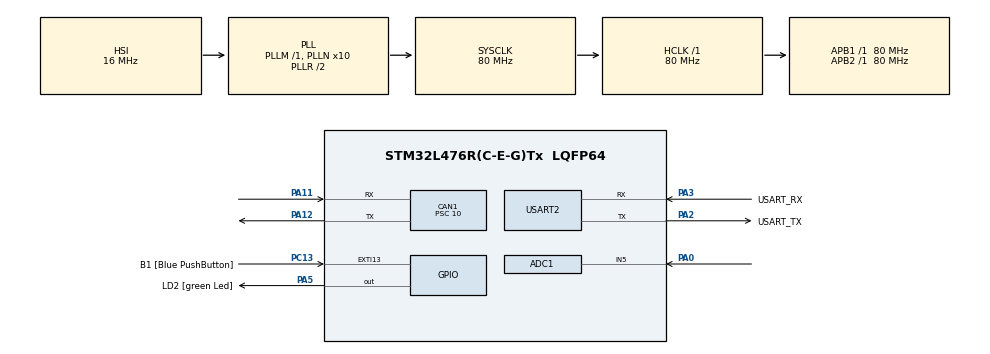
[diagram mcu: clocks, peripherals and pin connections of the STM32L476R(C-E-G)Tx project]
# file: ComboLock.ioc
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ADC1.Channel-0\#ChannelRegularConversion=ADC_CHANNEL_5
ADC1.NbrOfConversionFlag=1
ADC1.OffsetNumber-0\#ChannelRegularConversion=ADC_OFFSET_NONE
ADC1.Rank-0\#ChannelRegularConversion=1
ADC1.SamplingTime-0\#ChannelRegularConversion=ADC_SAMPLETIME_2CYCLES_5
ADC1.master=1
CAN1.BS1=CAN_BS1_13TQ
CAN1.BS2=CAN_BS2_2TQ
CAN1.CalculateTimeQuantum=125.0
CAN1.Mode=CAN_MODE_LOOPBACK
CAN1.Prescaler=10
Mcu.Family=STM32L4
Mcu.Name=STM32L476R(C-E-G)Tx
Mcu.Package=LQFP64
NVIC.EXTI15_10_IRQn=true\:0\:0\:false\:false\:true\:true\:true
NVIC.PriorityGroup=NVIC_PRIORITYGROUP_4
NVIC.RCC_IRQn=true\:0\:0\:false\:false\:true\:true\:false
PA0.Signal=SharedAnalog_PA0
PA11.Mode=Master
PA11.Signal=CAN1_RX
PA12.Mode=Master
PA12.Signal=CAN1_TX
PA13\ (JTMS-SWDIO).GPIO_Label=TMS
PA13\ (JTMS-SWDIO).Mode=Serial_Wire
PA13\ (JTMS-SWDIO).Signal=SYS_JTMS-SWDIO
PA14\ (JTCK-SWCLK).GPIO_Label=TCK
PA14\ (JTCK-SWCLK).Mode=Serial_Wire
PA14\ (JTCK-SWCLK).Signal=SYS_JTCK-SWCLK
PA2.GPIO_Label=USART_TX
PA2.GPIO_Mode=GPIO_MODE_AF_PP
PA2.GPIO_PuPd=GPIO_NOPULL
PA2.GPIO_Speed=GPIO_SPEED_FREQ_VERY_HIGH
PA2.Mode=Asynchronous
PA2.Signal=USART2_TX
PA3.GPIO_Label=USART_RX
PA3.GPIO_Mode=GPIO_MODE_AF_PP
PA3.GPIO_PuPd=GPIO_NOPULL
PA3.GPIO_Speed=GPIO_SPEED_FREQ_VERY_HIGH
PA3.Mode=Asynchronous
PA3.Signal=USART2_RX
PA5.GPIO_Label=LD2 [green Led]
PA5.GPIO_ModeDefaultOutputPP=GPIO_MODE_OUTPUT_PP
PA5.GPIO_PuPd=GPIO_NOPULL
PA5.GPIO_Speed=GPIO_SPEED_FREQ_LOW
PA5.Signal=GPIO_Output
PB3\ (JTDO-TRACESWO).GPIO_Label=SWO
PB3\ (JTDO-TRACESWO).Signal=SYS_JTDO-SWO
PC13.GPIO_Label=B1 [Blue PushButton]
PC13.GPIO_ModeDefaultEXTI=GPIO_MODE_IT_FALLING
PC13.GPIO_PuPd=GPIO_NOPULL
PC13.Signal=GPXTI13
PC14-OSC32_IN\ (PC14).Mode=LSE-External-Oscillator
PC14-OSC32_IN\ (PC14).Signal=RCC_OSC32_IN
PC15-OSC32_OUT\ (PC15).Mode=LSE-External-Oscillator
PC15-OSC32_OUT\ (PC15).Signal=RCC_OSC32_OUT
PH0-OSC_IN\ (PH0).Signal=RCC_OSC_IN
PH1-OSC_OUT\ (PH1).Signal=RCC_OSC_OUT
ProjectManager.HeapSize=0x200
ProjectManager.StackSize=0x400
ProjectManager.TargetToolchain=STM32CubeIDE
RCC.ADCFreq_Value=64000000
RCC.AHBFreq_Value=80000000
RCC.APB1Freq_Value=80000000
RCC.APB1TimFreq_Value=80000000
RCC.APB2Freq_Value=80000000
RCC.APB2TimFreq_Value=80000000
RCC.CortexFreq_Value=80000000
RCC.HCLKFreq_Value=80000000
RCC.HSE_VALUE=8000000
RCC.HSI_VALUE=16000000
RCC.MSI_VALUE=4000000
RCC.PLLN=10
RCC.PLLSourceVirtual=RCC_PLLSOURCE_HSI
RCC.PREFETCH_ENABLE=1
RCC.SYSCLKFreq_VALUE=80000000
RCC.SYSCLKSource=RCC_SYSCLKSOURCE_PLLCLK
RCC.USBFreq_Value=64000000
RCC.VCOOutputFreq_Value=160000000
SH.SharedAnalog_PA0.0=GPIO_Analog
SH.SharedAnalog_PA0.1=ADC1_IN5,IN5-Single-Ended
USART2.VirtualMode-Asynchronous=VM_ASYNC
board=NUCLEO-L476RG

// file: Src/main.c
/* USER CODE BEGIN Header */
/**
 ******************************************************************************
 * @file           : main.c
 * @brief          : Main program body
 ******************************************************************************
 * @attention
 *
 * <h2><center>&copy; Copyright (c) 2019 STMicroelectronics.
 * All rights reserved.</center></h2>
 *
 * This software component is licensed by ST under BSD 3-Clause license,
 * the "License"; You may not use this file except in compliance with the
 * License. You may obtain a copy of the License at:
 *                        opensource.org/licenses/BSD-3-Clause
 *
 ******************************************************************************
 */
/* USER CODE END Header */

#include "main.h"

/* USER CODE BEGIN PD */
#define SECRET_SIZE 4
/* USER CODE END PD */

ADC_HandleTypeDef hadc1;

CAN_HandleTypeDef hcan1;

UART_HandleTypeDef huart2;

/* USER CODE BEGIN PV */
uint16_t blinkingTime = 0;
uint16_t lastTickTime = 0;
int blinking = 0;
int maxADC = 4032;
uint8_t adcDigit[4];
uint8_t secretMessage[8] = { 0U };
int arrayIndex = 0;
uint32_t currentTick;
uint32_t adcValue;
/* USER CODE END PV */

void SystemClock_Config(void);
static void MX_GPIO_Init(void);
static void MX_CAN1_Init(void);
static void MX_USART2_UART_Init(void);
static void MX_ADC1_Init(void);
int determineDigit(void);
/* USER CODE BEGIN PFP */
int __io_putchar(int ch) {
	uint8_t c[1];
	c[0] = ch & 0x00FF;
	HAL_UART_Transmit(&huart2, &*c, 1, 10);
	return ch;
}
/* USER CODE END PFP */

/* USER CODE BEGIN 0 */
void HAL_GPIO_EXTI_Callback(uint16_t GPIO_Pin) {
	if (GPIO_Pin == GPIO_PIN_13) {
		if ((currentTick - lastTickTime) > 200 && getState() == READ_DIGIT) {
			int currentDigit = determineDigit();
			adcDigit[(arrayIndex++) % 4] = currentDigit;
			nextState(DIGIT_READ);
			lastTickTime = currentTick;
		}
	}
}

int determineDigit(void) {
	return (((float) adcValue / (float) maxADC) * 4) + 1;
}

extern enum states state;
extern int digitsRead;

/* USER CODE END 0 */

int main(void) {
	/* USER CODE BEGIN 1 */
	state = READ_DIGIT;
	digitsRead = 0;
	/* USER CODE END 1 */

	/* MCU Configuration--------------------------------------------------------*/

	/* Reset of all peripherals, Initializes the Flash interface and the Systick. */
	HAL_Init();

	/* Configure the system clock */
	SystemClock_Config();

	/* Initialize all configured peripherals */
	MX_GPIO_Init();
	MX_CAN1_Init();
	MX_USART2_UART_Init();
	MX_ADC1_Init();

	/* Infinite loop */
	while (1) {
		/* USER CODE BEGIN 3 */
		currentTick = HAL_GetTick();
		switch (getState()) {
		case READ_DIGIT: {
			HAL_StatusTypeDef start = HAL_ADC_Start(&hadc1);
			HAL_StatusTypeDef poll = HAL_ADC_PollForConversion(&hadc1, 100);
			adcValue = HAL_ADC_GetValue(&hadc1);
			printf("%d, %d\n", determineDigit(), digitsRead);
			break;
		}

		case SEND_MESSAGE: {
			HAL_CAN_StateTypeDef state = HAL_CAN_GetState(&hcan1);
			printf("%d, %d, %d, %d\n", adcDigit[0], adcDigit[1], adcDigit[2], adcDigit[3]);
			if (writeToCAN(&hcan1, adcDigit, 4) != -1) {
				nextState(CAN_SENT);
			} else {
				printf("sad\n");
			}
			break;
		}

		case RECEIVE_MESSAGE: {
			CAN_RxHeaderTypeDef result;
			if (readCAN(&hcan1, secretMessage, &result) != -1) {
				printf("%s\n", (char*)secretMessage);
				if(result.ExtId == 0x2AAA5)
					nextState(CAN_RECEIVED);
			}
			printf("Reading CAN");
			break;
		}
		case FINISHED: {
			printf("%s\n", (char*) secretMessage);
			break;
		}
		}
		HAL_Delay(10);
	}
	/* USER CODE END 3 */
}

void SystemClock_Config(void)
{
  RCC_OscInitTypeDef RCC_OscInitStruct = {0};
  RCC_ClkInitTypeDef RCC_ClkInitStruct = {0};
  RCC_PeriphCLKInitTypeDef PeriphClkInit = {0};

  /** Initializes the CPU, AHB and APB busses clocks
  */
  RCC_OscInitStruct.OscillatorType = RCC_OSCILLATORTYPE_HSI;
  RCC_OscInitStruct.HSIState = RCC_HSI_ON;
  RCC_OscInitStruct.HSICalibrationValue = RCC_HSICALIBRATION_DEFAULT;
  RCC_OscInitStruct.PLL.PLLState = RCC_PLL_ON;
  RCC_OscInitStruct.PLL.PLLSource = RCC_PLLSOURCE_HSI;
  RCC_OscInitStruct.PLL.PLLM = 1;
  RCC_OscInitStruct.PLL.PLLN = 10;
  RCC_OscInitStruct.PLL.PLLP = RCC_PLLP_DIV7;
  RCC_OscInitStruct.PLL.PLLQ = RCC_PLLQ_DIV2;
  RCC_OscInitStruct.PLL.PLLR = RCC_PLLR_DIV2;
  if (HAL_RCC_OscConfig(&RCC_OscInitStruct) != HAL_OK)
  {
    Error_Handler();
  }
  /** Initializes the CPU, AHB and APB busses clocks
  */
  RCC_ClkInitStruct.ClockType = RCC_CLOCKTYPE_HCLK|RCC_CLOCKTYPE_SYSCLK
                              |RCC_CLOCKTYPE_PCLK1|RCC_CLOCKTYPE_PCLK2;
  RCC_ClkInitStruct.SYSCLKSource = RCC_SYSCLKSOURCE_PLLCLK;
  RCC_ClkInitStruct.AHBCLKDivider = RCC_SYSCLK_DIV1;
  RCC_ClkInitStruct.APB1CLKDivider = RCC_HCLK_DIV1;
  RCC_ClkInitStruct.APB2CLKDivider = RCC_HCLK_DIV1;

  if (HAL_RCC_ClockConfig(&RCC_ClkInitStruct, FLASH_LATENCY_4) != HAL_OK)
  {
    Error_Handler();
  }
  PeriphClkInit.PeriphClockSelection = RCC_PERIPHCLK_USART2|RCC_PERIPHCLK_ADC;
  PeriphClkInit.Usart2ClockSelection = RCC_USART2CLKSOURCE_PCLK1;
  PeriphClkInit.AdcClockSelection = RCC_ADCCLKSOURCE_PLLSAI1;
  PeriphClkInit.PLLSAI1.PLLSAI1Source = RCC_PLLSOURCE_HSI;
  PeriphClkInit.PLLSAI1.PLLSAI1M = 1;
  PeriphClkInit.PLLSAI1.PLLSAI1N = 8;
  PeriphClkInit.PLLSAI1.PLLSAI1P = RCC_PLLP_DIV7;
  PeriphClkInit.PLLSAI1.PLLSAI1Q = RCC_PLLQ_DIV2;
  PeriphClkInit.PLLSAI1.PLLSAI1R = RCC_PLLR_DIV2;
  PeriphClkInit.PLLSAI1.PLLSAI1ClockOut = RCC_PLLSAI1_ADC1CLK;
  if (HAL_RCCEx_PeriphCLKConfig(&PeriphClkInit) != HAL_OK)
  {
    Error_Handler();
  }
  /** Configure the main internal regulator output voltage
  */
  if (HAL_PWREx_ControlVoltageScaling(PWR_REGULATOR_VOLTAGE_SCALE1) != HAL_OK)
  {
    Error_Handler();
  }
}

static void MX_ADC1_Init(void)
{

  ADC_MultiModeTypeDef multimode = {0};
  ADC_ChannelConfTypeDef sConfig = {0};

  /** Common config
  */
  hadc1.Instance = ADC1;
  hadc1.Init.ClockPrescaler = ADC_CLOCK_ASYNC_DIV4; /*!< ADC asynchronous clock with prescaler division by 4 */
  hadc1.Init.Resolution = ADC_RESOLUTION_12B;
  hadc1.Init.DataAlign = ADC_DATAALIGN_RIGHT;
  hadc1.Init.ScanConvMode = ADC_SCAN_DISABLE;
  hadc1.Init.EOCSelection = ADC_EOC_SINGLE_CONV;
  hadc1.Init.LowPowerAutoWait = DISABLE;
  hadc1.Init.ContinuousConvMode = DISABLE;
  hadc1.Init.NbrOfConversion = 5; //not sure how much this affects function
  hadc1.Init.DiscontinuousConvMode = DISABLE;
  hadc1.Init.ExternalTrigConv = ADC_SOFTWARE_START;
  hadc1.Init.ExternalTrigConvEdge = ADC_EXTERNALTRIGCONVEDGE_NONE;
  hadc1.Init.DMAContinuousRequests = DISABLE;
  hadc1.Init.Overrun = ADC_OVR_DATA_PRESERVED;
  hadc1.Init.OversamplingMode = DISABLE;
  if (HAL_ADC_Init(&hadc1) != HAL_OK)
  {
    Error_Handler();
  }
  /** Configure the ADC multi-mode
  */
  multimode.Mode = ADC_MODE_INDEPENDENT;
  if (HAL_ADCEx_MultiModeConfigChannel(&hadc1, &multimode) != HAL_OK)
  {
    Error_Handler();
  }
  /** Configure Regular Channel
  */
  sConfig.Channel = ADC_CHANNEL_5; //Pin A0 is set to ADC Channel 5 by default
  sConfig.Rank = ADC_REGULAR_RANK_1;
  sConfig.SamplingTime = ADC_SAMPLETIME_47CYCLES_5; //Important: 47 Cycles was deemed long enough (by experimentation) to actually get a significant sample out of the ADC module
  sConfig.SingleDiff = ADC_SINGLE_ENDED;
  sConfig.OffsetNumber = ADC_OFFSET_NONE;
  sConfig.Offset = 0;
  if (HAL_ADC_ConfigChannel(&hadc1, &sConfig) != HAL_OK)
  {
    Error_Handler();
  }

}
static void MX_CAN1_Init(void) {

	hcan1.Instance = CAN1;
	hcan1.Init.Prescaler = 10;
	hcan1.Init.Mode = CAN_MODE_NORMAL;
	hcan1.Init.SyncJumpWidth = CAN_SJW_1TQ;
	hcan1.Init.TimeSeg1 = CAN_BS1_13TQ;
	hcan1.Init.TimeSeg2 = CAN_BS2_2TQ;
	hcan1.Init.TimeTriggeredMode = DISABLE;
	hcan1.Init.AutoBusOff = DISABLE;
	hcan1.Init.AutoWakeUp = DISABLE;
	hcan1.Init.AutoRetransmission = ENABLE;
	hcan1.Init.ReceiveFifoLocked = DISABLE;
	hcan1.Init.TransmitFifoPriority = DISABLE;
	if (HAL_CAN_Init(&hcan1) != HAL_OK) {
		Error_Handler();
	}
	/* USER CODE BEGIN CAN1_Init 2 */
	// Configure Acceptance Filter
	// Current configuration should accept all IDs
	/*
	 * Found Id = 0xXXXXXXXX
	 * Masked = (0x00000000) & 0xXXXXXXXX = 0x00000000
	 * Expected = 0x00000000
	 */
	CAN_FilterTypeDef filterParams;
	filterParams.FilterBank = 0;
	filterParams.FilterFIFOAssignment = CAN_RX_FIFO0;
	filterParams.FilterMode = CAN_FILTERMODE_IDMASK;
	filterParams.FilterScale = CAN_FILTERSCALE_32BIT;
	filterParams.FilterIdHigh = 0x0000;
	filterParams.FilterIdLow = 0x0000;
	filterParams.FilterMaskIdHigh = 0x0000;
	filterParams.FilterMaskIdLow = 0x0000;
	filterParams.FilterActivation = CAN_FILTER_ENABLE;

	if (HAL_CAN_ConfigFilter(&hcan1, &filterParams) != HAL_OK) {
		Error_Handler();
	}
	/* USER CODE END CAN1_Init 2 */

}

static void MX_USART2_UART_Init(void) {

	huart2.Instance = USART2;
	huart2.Init.BaudRate = 115200;
	huart2.Init.WordLength = UART_WORDLENGTH_8B;
	huart2.Init.StopBits = UART_STOPBITS_1;
	huart2.Init.Parity = UART_PARITY_NONE;
	huart2.Init.Mode = UART_MODE_TX_RX;
	huart2.Init.HwFlowCtl = UART_HWCONTROL_NONE;
	huart2.Init.OverSampling = UART_OVERSAMPLING_16;
	huart2.Init.OneBitSampling = UART_ONE_BIT_SAMPLE_DISABLE;
	huart2.AdvancedInit.AdvFeatureInit = UART_ADVFEATURE_NO_INIT;
	if (HAL_UART_Init(&huart2) != HAL_OK) {
		Error_Handler();
	}

}

static void MX_GPIO_Init(void)
{
  GPIO_InitTypeDef GPIO_InitStruct = {0};

  /* GPIO Ports Clock Enable */
  __HAL_RCC_GPIOC_CLK_ENABLE();
  __HAL_RCC_GPIOH_CLK_ENABLE();
  __HAL_RCC_GPIOA_CLK_ENABLE();
  __HAL_RCC_GPIOB_CLK_ENABLE();

  /*Configure GPIO pin Output Level */
  HAL_GPIO_WritePin(LD2_GPIO_Port, LD2_Pin, GPIO_PIN_RESET);

  /*Configure GPIO pin : B1_Pin */
  GPIO_InitStruct.Pin = B1_Pin;
  GPIO_InitStruct.Mode = GPIO_MODE_IT_FALLING;
  GPIO_InitStruct.Pull = GPIO_NOPULL;
  HAL_GPIO_Init(B1_GPIO_Port, &GPIO_InitStruct);

  /*Configure GPIO pin : PA0 */
  GPIO_InitStruct.Pin = GPIO_PIN_0;
  GPIO_InitStruct.Mode = GPIO_MODE_ANALOG_ADC_CONTROL;
  GPIO_InitStruct.Pull = GPIO_NOPULL;
  HAL_GPIO_Init(GPIOA, &GPIO_InitStruct);

  /*Configure GPIO pin : LD2_Pin */
  GPIO_InitStruct.Pin = LD2_Pin;
  GPIO_InitStruct.Mode = GPIO_MODE_OUTPUT_PP;
  GPIO_InitStruct.Pull = GPIO_NOPULL;
  GPIO_InitStruct.Speed = GPIO_SPEED_FREQ_LOW;
  HAL_GPIO_Init(LD2_GPIO_Port, &GPIO_InitStruct);

  HAL_NVIC_SetPriority(EXTI15_10_IRQn, 0, 0);
  HAL_NVIC_EnableIRQ(EXTI15_10_IRQn);
}

//static void MX_GPIO_Init(void) {
//	GPIO_InitTypeDef GPIO_InitStruct = { 0 };
//
//	/* GPIO Ports Clock Enable */
//	__HAL_RCC_GPIOC_CLK_ENABLE()
//	;
//	__HAL_RCC_GPIOH_CLK_ENABLE()
//	;
//	__HAL_RCC_GPIOA_CLK_ENABLE()
//	;
//	__HAL_RCC_GPIOB_CLK_ENABLE()
//	;
//
//	/*Configure GPIO pin Output Level */
//	HAL_GPIO_WritePin(LD2_GPIO_Port, LD2_Pin, GPIO_PIN_RESET);
//
//	/*Configure GPIO pin : B1_Pin */
//	GPIO_InitStruct.Pin = B1_Pin;
//	GPIO_InitStruct.Mode = GPIO_MODE_IT_FALLING;
//	GPIO_InitStruct.Pull = GPIO_NOPULL;
//	HAL_GPIO_Init(B1_GPIO_Port, &GPIO_InitStruct);
//
//	/*Configure GPIO pin : PA0 */
//	GPIO_InitStruct.Pin = GPIO_PIN_0;
//	GPIO_InitStruct.Mode = GPIO_MODE_ANALOG_ADC_CONTROL;
//	GPIO_InitStruct.Pull = GPIO_NOPULL;
//	HAL_GPIO_Init(GPIOA, &GPIO_InitStruct);
//
//	/*Configure GPIO pin : LD2_Pin */
//	GPIO_InitStruct.Pin = LD2_Pin;
//	GPIO_InitStruct.Mode = GPIO_MODE_OUTPUT_PP;
//	GPIO_InitStruct.Pull = GPIO_NOPULL;
//	GPIO_InitStruct.Speed = GPIO_SPEED_FREQ_LOW;
//	HAL_GPIO_Init(LD2_GPIO_Port, &GPIO_InitStruct);
//
//	/* EXTI interrupt init*/
//	HAL_NVIC_SetPriority(EXTI15_10_IRQn, 0, 0);
//	HAL_NVIC_EnableIRQ(EXTI15_10_IRQn);
//
//}

void Error_Handler(void) {
}

/************************ (C) COPYRIGHT STMicroelectronics *****END OF FILE****/
